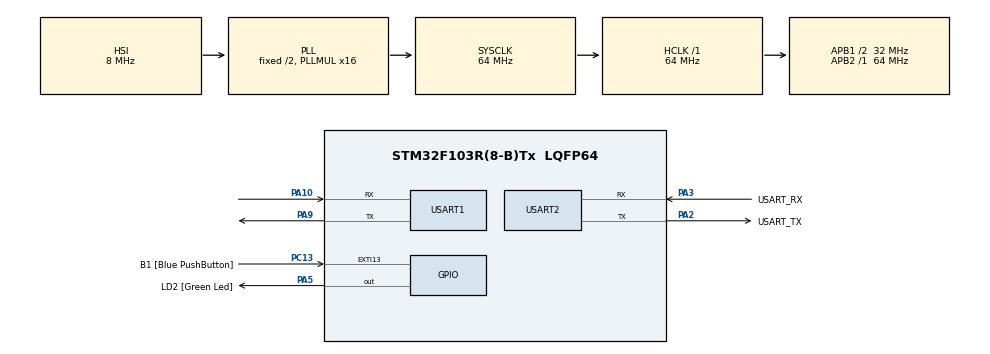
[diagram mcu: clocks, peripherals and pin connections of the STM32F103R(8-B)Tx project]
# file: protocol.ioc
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Mcu.Family=STM32F1
Mcu.Name=STM32F103R(8-B)Tx
Mcu.Package=LQFP64
NVIC.EXTI15_10_IRQn=true\:0\:0\:false\:false\:true\:true\:true\:true
NVIC.PriorityGroup=NVIC_PRIORITYGROUP_4
PA10.Mode=Asynchronous
PA10.Signal=USART1_RX
PA13.GPIO_Label=TMS
PA13.Mode=Serial_Wire
PA13.Signal=SYS_JTMS-SWDIO
PA14.GPIO_Label=TCK
PA14.Mode=Serial_Wire
PA14.Signal=SYS_JTCK-SWCLK
PA2.GPIO_Label=USART_TX
PA2.GPIO_Mode=GPIO_MODE_AF_PP
PA2.GPIO_PuPd=GPIO_NOPULL
PA2.GPIO_Speed=GPIO_SPEED_FREQ_LOW
PA2.Mode=Asynchronous
PA2.Signal=USART2_TX
PA3.GPIO_Label=USART_RX
PA3.GPIO_Mode=GPIO_MODE_AF_PP
PA3.GPIO_PuPd=GPIO_NOPULL
PA3.GPIO_Speed=GPIO_SPEED_FREQ_LOW
PA3.Mode=Asynchronous
PA3.Signal=USART2_RX
PA5.GPIO_Label=LD2 [Green Led]
PA5.GPIO_ModeDefaultOutputPP=GPIO_MODE_OUTPUT_PP
PA5.GPIO_PuPd=GPIO_NOPULL
PA5.GPIO_Speed=GPIO_SPEED_FREQ_LOW
PA5.Signal=GPIO_Output
PA9.Mode=Asynchronous
PA9.Signal=USART1_TX
PB3.GPIO_Label=SWO
PB3.Signal=SYS_JTDO-TRACESWO
PC13-TAMPER-RTC.GPIO_Label=B1 [Blue PushButton]
PC13-TAMPER-RTC.GPIO_PuPd=GPIO_NOPULL
PC13-TAMPER-RTC.Signal=GPXTI13
PC14-OSC32_IN.Mode=LSE-External-Oscillator
PC14-OSC32_IN.Signal=RCC_OSC32_IN
PC15-OSC32_OUT.Mode=LSE-External-Oscillator
PC15-OSC32_OUT.Signal=RCC_OSC32_OUT
PD0-OSC_IN.Mode=HSE-External-Clock-Source
PD0-OSC_IN.Signal=RCC_OSC_IN
PD1-OSC_OUT.Mode=HSE-External-Clock-Source
PD1-OSC_OUT.Signal=RCC_OSC_OUT
ProjectManager.HeapSize=0x200
ProjectManager.StackSize=0x400
ProjectManager.TargetToolchain=STM32CubeIDE
RCC.AHBFreq_Value=64000000
RCC.APB1CLKDivider=RCC_HCLK_DIV2
RCC.APB1Freq_Value=32000000
RCC.APB1TimFreq_Value=64000000
RCC.APB2Freq_Value=64000000
RCC.APB2TimFreq_Value=64000000
RCC.HCLKFreq_Value=64000000
RCC.PLLMUL=RCC_PLL_MUL16
RCC.RTCClockSelection=RCC_RTCCLKSOURCE_LSE
RCC.SYSCLKFreq_VALUE=64000000
RCC.SYSCLKSource=RCC_SYSCLKSOURCE_PLLCLK
RCC.USBFreq_Value=64000000
USART1.VirtualMode=VM_ASYNC
USART2.VirtualMode=VM_ASYNC
board=NUCLEO-F103RB

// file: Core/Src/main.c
/* USER CODE BEGIN Header */
/**
  ******************************************************************************
  * @file           : main.c
  * @brief          : Main program body
  ******************************************************************************
  * @attention
  *
  * Copyright (c) 2023 STMicroelectronics.
  * All rights reserved.
  *
  * This software is licensed under terms that can be found in the LICENSE file
  * in the root directory of this software component.
  * If no LICENSE file comes with this software, it is provided AS-IS.
  *
  ******************************************************************************
  */
/* USER CODE END Header */
#include "main.h"

/* USER CODE BEGIN Includes */
#include "protocol.h"
/* USER CODE END Includes */

UART_HandleTypeDef huart1;
UART_HandleTypeDef huart2;

void SystemClock_Config(void);
static void MX_GPIO_Init(void);
static void MX_USART2_UART_Init(void);
static void MX_USART1_UART_Init(void);

int main(void)
{
  /* USER CODE BEGIN 1 */
  char protocol;
  /* USER CODE END 1 */

  /* MCU Configuration--------------------------------------------------------*/

  /* Reset of all peripherals, Initializes the Flash interface and the Systick. */
  HAL_Init();

  /* Configure the system clock */
  SystemClock_Config();

  /* Initialize all configured peripherals */
  MX_GPIO_Init();
  MX_USART2_UART_Init();
  MX_USART1_UART_Init();

  /* Infinite loop */
  /* USER CODE BEGIN WHILE */
  while (1)
  {
	  protocol = 0x00;
	  //protocol vom Terminal empfangen. Die länge der empfangene Protocol ist 1
	  HAL_UART_Receive(&huart1, &protocol, 1, 100);

	  if(protocol == PROTOCOL_READ_TEMP){
		  char ch[] = "Sie haben die Temperatur abgefragt.\n\rDruecken Sie die Taste \"Enter\" um den Temperaturwert zu lesen.\n\r";
		  HAL_UART_Transmit(&huart1, ch, sizeof(ch), 100);

	  }else if(protocol == PROTOCOL_WRITE_TEMP){
		  char ch[] = "Sie versuchen gerade ein neuen Temperaturwert zu schreiben.\n\rDruecken Sie die Leertaste dann geben Sie den Wert ein \n\rund druecken Sie zum Schluss die Taste \"Enter\".\n\r";
		  HAL_UART_Transmit(&huart1, ch, sizeof(ch), 100);
	  }else if(protocol != 0x00){
		  //ungültige Protokoll
		 char error[] = "Ungueltige Protokoll. Geben ein gueltiger Protokoll ein. \n\r- Geben Sie \"r\" (0x72) ein, um der Temperaturwert zu lesen\n\r \
 oder \"w\" (0x77) um der neuen Temperaturwert zu schreiben.\n\n\r";
		 HAL_UART_Transmit(&huart1, error, sizeof(error), 100);
		 continue;
	  }

	  switch(protocol){

	  case PROTOCOL_WRITE_TEMP:  //Protokoll um Temperatur zu schreiben.
	  {
		  char c = 0;
		  uint32_t beforeComma = 0;
		  uint32_t afterComma = 0;
		  uint32_t counterBefore = 0;
		  uint32_t counterAfter = 0;
		  uint32_t digitCntAfter;
		  uint8_t firstCount = 0;
		  uint8_t flagError = 0;

		  while(c != LEERTASTE){
			 //geben sie die Leertaste ein
			 HAL_UART_Receive(&huart1, &c, 1, 100);
			 if((c != 0) && (c != LEERTASTE)){
				 c = 0;
				 flagError = 1;
				 break;
			 }
		  }
		  if(flagError)
			  break;

		  uint8_t commaCount = 0;
		  while(c != ENTER){
			 //geben sie den Wert ein
			  c = 0;
			 HAL_UART_Receive(&huart1, &c, 1, 100);
			 firstCount++;

			 if(firstCount == 1){
				 continue;
			 }
			 if(((c >= 0x30) && (c <= 0x39)) || (c == 0x2E) || (c == 0x2C)){
				 //es darf nur ein Komma im dezimalzahl sein
				 if((c == 0x2E) || (c == 0x2C)){
					 commaCount++;
					 if(commaCount > 1){
						 //invalid
						 flagError = 1;
						 commaCount = 1;
						 break;
					 }
				 }else{

					 if(commaCount == 0){
						 beforeComma = beforeComma*10 + (c - 0x30);
						 counterBefore++;

					 }else if (commaCount == 1){
						 afterComma = afterComma*10 + (c - 0x30);
						 counterAfter++;
					 }

				 }

			 }else if((c != 0x00) && (c != ENTER)){
				 //ungültige wert
				 flagError = 1;
				 break;
			 }

		  }

		  if(flagError)
			  break;

		  digitCntAfter = getDigitCount(afterComma);
		  float value = beforeComma; // + (afterComma /(10^counterAfter));
		  float temp = (float)afterComma;
		  uint8_t i;
		  for(i = 0; i<digitCntAfter; i++){
			  temp /= 10;
		  }
		  if(afterComma != 0)
			  value += temp;

		  setTemp(value);
		  {
			char str1[] = "Der neuer Tempearturwert wurde gesetzt ";
			HAL_UART_Transmit(&huart1, str1, sizeof(str1), 100);
		  }
		  break;
	  }
	  case PROTOCOL_READ_TEMP:  //Protokoll um die Temperatur zu lesen
	  {
		  //Temperatur lesen
		  char c = 0;
		  float value;
		  uint8_t digitCount;
		  uint32_t beforeComma, afterComma;
		  while(c != ENTER){
			  //drücken sie die taste Enter
			  c = 0x00;
			  HAL_UART_Receive(&huart1, &c, 1, 100);
			  if(c == 0x0D){
				 char str[] = "Die gelesene Temperatur ist: ";
				 char end[] = "°C\n\n\r";
				 value = readTemp();
				 beforeComma =  getHexBeforeComma(value);
				 afterComma = getHexAfterComma(value);
				 digitCount = getDigitCount(beforeComma) + getDigitCount(afterComma) + 1;

				 char floatStr[digitCount];
				 //floatStr[digitCount] = '\0';

				 toArray(beforeComma, afterComma, digitCount, floatStr);

				 //HAL_UART_Transmit(&huart1, end, sizeof(end), 100);
				 HAL_UART_Transmit(&huart1, str, sizeof(str), 100);
				 HAL_UART_Transmit(&huart1, floatStr, digitCount, 100);
				 HAL_UART_Transmit(&huart1, end, sizeof(end), 100);
			  }
		  }
		  //HAL_UART_Transmit(&huart1, "Die Tempeartur wird gelesen\n\r", 29, 100);
		  break;
	  }
	  default:
		  break;

	  }
    /* USER CODE END WHILE */

  }
}

void SystemClock_Config(void)
{
  RCC_OscInitTypeDef RCC_OscInitStruct = {0};
  RCC_ClkInitTypeDef RCC_ClkInitStruct = {0};

  /** Initializes the RCC Oscillators according to the specified parameters
  * in the RCC_OscInitTypeDef structure.
  */
  RCC_OscInitStruct.OscillatorType = RCC_OSCILLATORTYPE_HSI;
  RCC_OscInitStruct.HSIState = RCC_HSI_ON;
  RCC_OscInitStruct.HSICalibrationValue = RCC_HSICALIBRATION_DEFAULT;
  RCC_OscInitStruct.PLL.PLLState = RCC_PLL_ON;
  RCC_OscInitStruct.PLL.PLLSource = RCC_PLLSOURCE_HSI_DIV2;
  RCC_OscInitStruct.PLL.PLLMUL = RCC_PLL_MUL16;
  if (HAL_RCC_OscConfig(&RCC_OscInitStruct) != HAL_OK)
  {
    Error_Handler();
  }

  /** Initializes the CPU, AHB and APB buses clocks
  */
  RCC_ClkInitStruct.ClockType = RCC_CLOCKTYPE_HCLK|RCC_CLOCKTYPE_SYSCLK
                              |RCC_CLOCKTYPE_PCLK1|RCC_CLOCKTYPE_PCLK2;
  RCC_ClkInitStruct.SYSCLKSource = RCC_SYSCLKSOURCE_PLLCLK;
  RCC_ClkInitStruct.AHBCLKDivider = RCC_SYSCLK_DIV1;
  RCC_ClkInitStruct.APB1CLKDivider = RCC_HCLK_DIV2;
  RCC_ClkInitStruct.APB2CLKDivider = RCC_HCLK_DIV1;

  if (HAL_RCC_ClockConfig(&RCC_ClkInitStruct, FLASH_LATENCY_2) != HAL_OK)
  {
    Error_Handler();
  }
}

static void MX_USART1_UART_Init(void)
{

  huart1.Instance = USART1;
  huart1.Init.BaudRate = 115200;
  huart1.Init.WordLength = UART_WORDLENGTH_8B;
  huart1.Init.StopBits = UART_STOPBITS_1;
  huart1.Init.Parity = UART_PARITY_NONE;
  huart1.Init.Mode = UART_MODE_TX_RX;
  huart1.Init.HwFlowCtl = UART_HWCONTROL_NONE;
  huart1.Init.OverSampling = UART_OVERSAMPLING_16;
  if (HAL_UART_Init(&huart1) != HAL_OK)
  {
    Error_Handler();
  }

}

static void MX_USART2_UART_Init(void)
{

  huart2.Instance = USART2;
  huart2.Init.BaudRate = 115200;
  huart2.Init.WordLength = UART_WORDLENGTH_8B;
  huart2.Init.StopBits = UART_STOPBITS_1;
  huart2.Init.Parity = UART_PARITY_NONE;
  huart2.Init.Mode = UART_MODE_TX_RX;
  huart2.Init.HwFlowCtl = UART_HWCONTROL_NONE;
  huart2.Init.OverSampling = UART_OVERSAMPLING_16;
  if (HAL_UART_Init(&huart2) != HAL_OK)
  {
    Error_Handler();
  }

}

static void MX_GPIO_Init(void)
{
  GPIO_InitTypeDef GPIO_InitStruct = {0};

  /* GPIO Ports Clock Enable */
  __HAL_RCC_GPIOC_CLK_ENABLE();
  __HAL_RCC_GPIOD_CLK_ENABLE();
  __HAL_RCC_GPIOA_CLK_ENABLE();
  __HAL_RCC_GPIOB_CLK_ENABLE();

  /*Configure GPIO pin Output Level */
  HAL_GPIO_WritePin(LD2_GPIO_Port, LD2_Pin, GPIO_PIN_RESET);

  /*Configure GPIO pin : B1_Pin */
  GPIO_InitStruct.Pin = B1_Pin;
  GPIO_InitStruct.Mode = GPIO_MODE_IT_RISING;
  GPIO_InitStruct.Pull = GPIO_NOPULL;
  HAL_GPIO_Init(B1_GPIO_Port, &GPIO_InitStruct);

  /*Configure GPIO pin : LD2_Pin */
  GPIO_InitStruct.Pin = LD2_Pin;
  GPIO_InitStruct.Mode = GPIO_MODE_OUTPUT_PP;
  GPIO_InitStruct.Pull = GPIO_NOPULL;
  GPIO_InitStruct.Speed = GPIO_SPEED_FREQ_LOW;
  HAL_GPIO_Init(LD2_GPIO_Port, &GPIO_InitStruct);

  /* EXTI interrupt init*/
  HAL_NVIC_SetPriority(EXTI15_10_IRQn, 0, 0);
  HAL_NVIC_EnableIRQ(EXTI15_10_IRQn);

}

void Error_Handler(void)
{
  __disable_irq();
  while (1)
  {
  }
}
